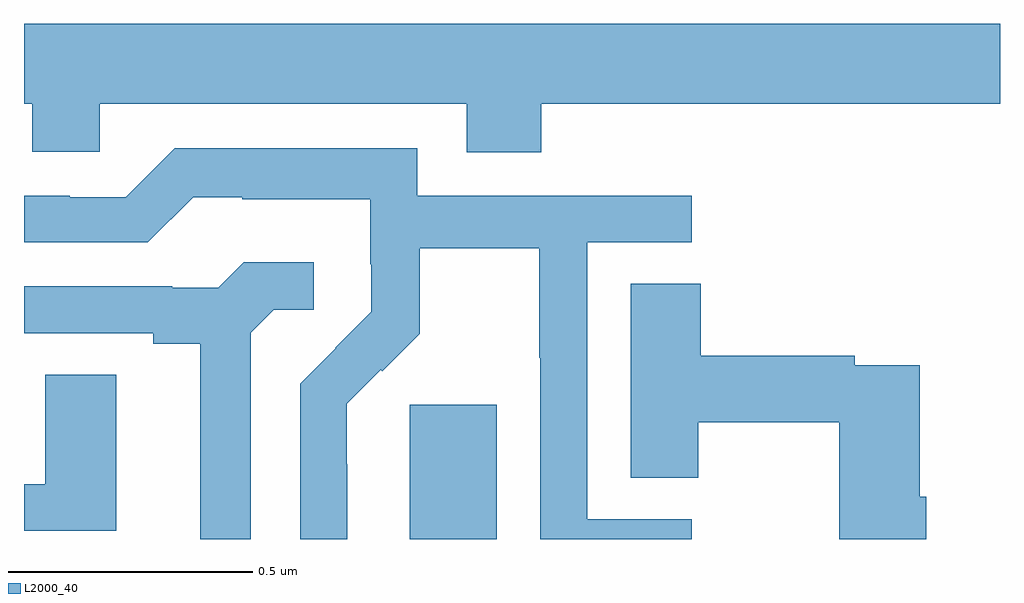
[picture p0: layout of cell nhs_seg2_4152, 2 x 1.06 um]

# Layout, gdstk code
import gdstk
lib = gdstk.Library(unit=1e-6, precision=1e-09)
def R(c, l, rs):  # rectangles x0, y0, x1, y1
    for r in rs: c.add(gdstk.rectangle(r[:2], r[2:], *l))
def P(c, l, *ps):  # polygons
    for p in ps: c.add(gdstk.Polygon(p, *l))
L2000_40 = (2000, 40)

nhs_seg2_4152 = lib.new_cell('nhs_seg2_4152')
R(nhs_seg2_4152, L2000_40, [(163.79,590.8,163.969,591.075)])
P(nhs_seg2_4152, L2000_40, [(164.06,591.692),(165,591.692),(165,591.856),(163,591.856),(163,591.692),(163.017,591.692),(163.017,591.594),(163.155,591.594),(163.155,591.692),(163.907,591.692),(163.907,591.593),(164.06,591.593)],
  [(163.662,590.954),(163.661,590.954),(163.661,591.077),(163.731,591.147),(163.734,591.144),(163.811,591.221),(163.811,591.396),(164.056,591.396),(164.056,591.172),(164.058,591.172),(164.058,590.8),(164.368,590.8),(164.368,590.841),(164.154,590.841),(164.154,591.408),(164.368,591.408),(164.368,591.504),(163.806,591.504),(163.806,591.601),(163.309,591.601),(163.209,591.501),(163.094,591.501),(163.094,591.504),(163,591.504),(163,591.408),(163.254,591.408),(163.347,591.501),(163.447,591.501),(163.447,591.497),(163.71,591.497),(163.71,591.363),(163.712,591.363),(163.712,591.266),(163.638,591.192),(163.639,591.191),(163.566,591.118),(163.566,590.8),(163.662,590.8)],
  [(163.465,591.223),(163.512,591.27),(163.594,591.27),(163.594,591.367),(163.45,591.367),(163.398,591.315),(163.304,591.315),(163.304,591.318),(163,591.318),(163,591.222),(163.265,591.222),(163.265,591.2),(163.361,591.2),(163.361,590.8),(163.465,590.8)],
  [(164.849,590.887),(164.836,590.887),(164.836,591.156),(164.702,591.156),(164.702,591.176),(164.387,591.176),(164.387,591.323),(164.243,591.323),(164.243,590.926),(164.382,590.926),(164.382,591.04),(164.671,591.04),(164.671,590.8),(164.849,590.8)],
  [(163.189,591.137),(163.044,591.137),(163.044,590.913),(163,590.913),(163,590.817),(163.189,590.817)])

lib.write_gds('nhs_seg2_4152.gds')
